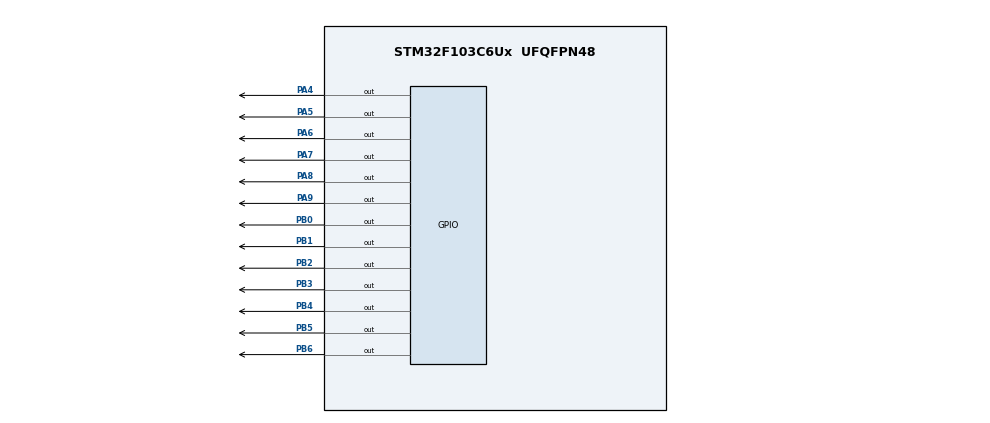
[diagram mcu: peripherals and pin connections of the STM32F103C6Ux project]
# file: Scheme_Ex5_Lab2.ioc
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Mcu.Family=STM32F1
Mcu.Name=STM32F103C6Ux
Mcu.Package=UFQFPN48
NVIC.PriorityGroup=NVIC_PRIORITYGROUP_4
NVIC.TIM2_IRQn=true\:0\:0\:false\:false\:true\:true\:true
PA13.Mode=Serial_Wire
PA13.Signal=SYS_JTMS-SWDIO
PA14.Mode=Serial_Wire
PA14.Signal=SYS_JTCK-SWCLK
PA4.Signal=GPIO_Output
PA5.Signal=GPIO_Output
PA6.Signal=GPIO_Output
PA7.Signal=GPIO_Output
PA8.Signal=GPIO_Output
PA9.Signal=GPIO_Output
PB0.Signal=GPIO_Output
PB1.Signal=GPIO_Output
PB2.Signal=GPIO_Output
PB3.Signal=GPIO_Output
PB4.Signal=GPIO_Output
PB5.Signal=GPIO_Output
PB6.Signal=GPIO_Output
ProjectManager.HeapSize=0x200
ProjectManager.StackSize=0x400
ProjectManager.TargetToolchain=STM32CubeIDE
RCC.APB1Freq_Value=8000000
RCC.APB2Freq_Value=8000000
TIM2.Period=9
TIM2.Prescaler=7999
VP_TIM2_VS_ClockSourceINT.Mode=Internal
board=custom

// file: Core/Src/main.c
/* USER CODE BEGIN Header */
/**
  ******************************************************************************
  * @file           : main.c
  * @brief          : Main program body - Lab 2 Exercise 3
  ******************************************************************************
  * @attention
  *
  * <h2><center>&copy; Copyright (c) 2026 STMicroelectronics.
  * All rights reserved.</center></h2>
  *
  * This software component is licensed by ST under BSD 3-Clause license,
  * the "License"; You may not use this file except in compliance with the
  * License. You may obtain a copy of the License at:
  *                        opensource.org/licenses/BSD-3-Clause
  *
  ******************************************************************************
  */
/* USER CODE END Header */
#include "main.h"

TIM_HandleTypeDef htim2;

/* USER CODE BEGIN PV */
const int MAX_LED = 4;
int led_buffer[4] = {0,0,0,0};
int hour = 15;
int minute = 8;
int second = 50;
int led_counter = 25;
int dot_counter = 100; // 100 * 10ms = 1000ms = 1s
int led_index = 0;
/* USER CODE END PV */

void SystemClock_Config(void);
static void MX_GPIO_Init(void);
static void MX_TIM2_Init(void);
/* USER CODE BEGIN PFP */
void display7SEG(int num);
void update7SEG(int index);
/* USER CODE END PFP */

/* USER CODE BEGIN 0 */
static const uint8_t seg_code[10] = {
    0b1000000, // 0: a,b,c,d,e,f
    0b1111001, // 1: b,c
    0b0100100, // 2: a,b,d,e,g
    0b0110000, // 3: a,b,c,d,g
    0b0011001, // 4: b,c,f,g
    0b0010010, // 5: a,c,d,f,g
    0b0000010, // 6: a,c,d,e,f,g
    0b1111000, // 7: a,b,c
    0b0000000, // 8: a,b,c,d,e,f,g
    0b0010000  // 9: a,b,c,d,f,g
};

void display7SEG(int num)
{
    if (num < 0 || num > 9) return;
    uint8_t code = seg_code[num];
    HAL_GPIO_WritePin(GPIOB, GPIO_PIN_0, (code & 0x01) ? GPIO_PIN_SET : GPIO_PIN_RESET);
    HAL_GPIO_WritePin(GPIOB, GPIO_PIN_1, (code & 0x02) ? GPIO_PIN_SET : GPIO_PIN_RESET);
    HAL_GPIO_WritePin(GPIOB, GPIO_PIN_2, (code & 0x04) ? GPIO_PIN_SET : GPIO_PIN_RESET);
    HAL_GPIO_WritePin(GPIOB, GPIO_PIN_3, (code & 0x08) ? GPIO_PIN_SET : GPIO_PIN_RESET);
    HAL_GPIO_WritePin(GPIOB, GPIO_PIN_4, (code & 0x10) ? GPIO_PIN_SET : GPIO_PIN_RESET);
    HAL_GPIO_WritePin(GPIOB, GPIO_PIN_5, (code & 0x20) ? GPIO_PIN_SET : GPIO_PIN_RESET);
    HAL_GPIO_WritePin(GPIOB, GPIO_PIN_6, (code & 0x40) ? GPIO_PIN_SET : GPIO_PIN_RESET);
}

void update7SEG(int index)
{
    if (index < 0 || index > 3) return;
    HAL_GPIO_WritePin(GPIOA, GPIO_PIN_6 | GPIO_PIN_7 | GPIO_PIN_8 | GPIO_PIN_9, GPIO_PIN_SET); // Tắt hết 4 LED chống bóng m�?

    switch(index)
    {
    case 0:
        display7SEG(led_buffer[0]);
        HAL_GPIO_WritePin(GPIOA, GPIO_PIN_6, GPIO_PIN_RESET);
        break;
    case 1:
        display7SEG(led_buffer[1]);
        HAL_GPIO_WritePin(GPIOA, GPIO_PIN_7, GPIO_PIN_RESET);
        break;
    case 2:
        display7SEG(led_buffer[2]);
        HAL_GPIO_WritePin(GPIOA, GPIO_PIN_8, GPIO_PIN_RESET);
        break;
    case 3:
        display7SEG(led_buffer[3]);
        HAL_GPIO_WritePin(GPIOA, GPIO_PIN_9, GPIO_PIN_RESET);
        break;
    default:
        break;
    }
}

 void updateClockBuffer(int hour, int minute) {
	 led_buffer[0] = hour / 10;
	 led_buffer[1] = hour % 10;
	 led_buffer[2] = minute / 10;
	 led_buffer[3] = minute % 10;
 }
/* USER CODE END 0 */

int main(void)
{

  /* MCU Configuration--------------------------------------------------------*/

  /* Reset of all peripherals, Initializes the Flash interface and the Systick. */
  HAL_Init();

  /* Configure the system clock */
  SystemClock_Config();

  /* Initialize all configured peripherals */
  MX_GPIO_Init();
  MX_TIM2_Init();
  /* USER CODE BEGIN 2 */
  HAL_TIM_Base_Start_IT(&htim2);
  updateClockBuffer(hour, minute);
  /* USER CODE END 2 */

  /* Infinite loop */
  while (1)
  {

  }
}

void SystemClock_Config(void)
{
  RCC_OscInitTypeDef RCC_OscInitStruct = {0};
  RCC_ClkInitTypeDef RCC_ClkInitStruct = {0};

  /** Initializes the RCC Oscillators according to the specified parameters
  * in the RCC_OscInitTypeDef structure.
  */
  RCC_OscInitStruct.OscillatorType = RCC_OSCILLATORTYPE_HSI;
  RCC_OscInitStruct.HSIState = RCC_HSI_ON;
  RCC_OscInitStruct.HSICalibrationValue = RCC_HSICALIBRATION_DEFAULT;
  RCC_OscInitStruct.PLL.PLLState = RCC_PLL_NONE;
  if (HAL_RCC_OscConfig(&RCC_OscInitStruct) != HAL_OK)
  {
    Error_Handler();
  }
  /** Initializes the CPU, AHB and APB buses clocks
  */
  RCC_ClkInitStruct.ClockType = RCC_CLOCKTYPE_HCLK|RCC_CLOCKTYPE_SYSCLK
                              |RCC_CLOCKTYPE_PCLK1|RCC_CLOCKTYPE_PCLK2;
  RCC_ClkInitStruct.SYSCLKSource = RCC_SYSCLKSOURCE_HSI;
  RCC_ClkInitStruct.AHBCLKDivider = RCC_SYSCLK_DIV1;
  RCC_ClkInitStruct.APB1CLKDivider = RCC_HCLK_DIV1;
  RCC_ClkInitStruct.APB2CLKDivider = RCC_HCLK_DIV1;

  if (HAL_RCC_ClockConfig(&RCC_ClkInitStruct, FLASH_LATENCY_0) != HAL_OK)
  {
    Error_Handler();
  }
}

static void MX_TIM2_Init(void)
{

  TIM_ClockConfigTypeDef sClockSourceConfig = {0};
  TIM_MasterConfigTypeDef sMasterConfig = {0};

  htim2.Instance = TIM2;
  htim2.Init.Prescaler = 7999;
  htim2.Init.CounterMode = TIM_COUNTERMODE_UP;
  htim2.Init.Period = 9;
  htim2.Init.ClockDivision = TIM_CLOCKDIVISION_DIV1;
  htim2.Init.AutoReloadPreload = TIM_AUTORELOAD_PRELOAD_DISABLE;
  if (HAL_TIM_Base_Init(&htim2) != HAL_OK)
  {
    Error_Handler();
  }
  sClockSourceConfig.ClockSource = TIM_CLOCKSOURCE_INTERNAL;
  if (HAL_TIM_ConfigClockSource(&htim2, &sClockSourceConfig) != HAL_OK)
  {
    Error_Handler();
  }
  sMasterConfig.MasterOutputTrigger = TIM_TRGO_RESET;
  sMasterConfig.MasterSlaveMode = TIM_MASTERSLAVEMODE_DISABLE;
  if (HAL_TIMEx_MasterConfigSynchronization(&htim2, &sMasterConfig) != HAL_OK)
  {
    Error_Handler();
  }

}

static void MX_GPIO_Init(void)
{
  GPIO_InitTypeDef GPIO_InitStruct = {0};

  /* GPIO Ports Clock Enable */
  __HAL_RCC_GPIOA_CLK_ENABLE();
  __HAL_RCC_GPIOB_CLK_ENABLE();

  /*Configure GPIO pin Output Level */
  HAL_GPIO_WritePin(GPIOA, GPIO_PIN_4|GPIO_PIN_5|GPIO_PIN_6|GPIO_PIN_7
                          |GPIO_PIN_8|GPIO_PIN_9, GPIO_PIN_RESET);

  /*Configure GPIO pin Output Level */
  HAL_GPIO_WritePin(GPIOB, GPIO_PIN_0|GPIO_PIN_1|GPIO_PIN_2|GPIO_PIN_3
                          |GPIO_PIN_4|GPIO_PIN_5|GPIO_PIN_6, GPIO_PIN_RESET);

  /*Configure GPIO pins : PA4 PA5 PA6 PA7
                           PA8 PA9 */
  GPIO_InitStruct.Pin = GPIO_PIN_4|GPIO_PIN_5|GPIO_PIN_6|GPIO_PIN_7
                          |GPIO_PIN_8|GPIO_PIN_9;
  GPIO_InitStruct.Mode = GPIO_MODE_OUTPUT_PP;
  GPIO_InitStruct.Pull = GPIO_NOPULL;
  GPIO_InitStruct.Speed = GPIO_SPEED_FREQ_LOW;
  HAL_GPIO_Init(GPIOA, &GPIO_InitStruct);

  /*Configure GPIO pins : PB0 PB1 PB2 PB3
                           PB4 PB5 PB6 */
  GPIO_InitStruct.Pin = GPIO_PIN_0|GPIO_PIN_1|GPIO_PIN_2|GPIO_PIN_3
                          |GPIO_PIN_4|GPIO_PIN_5|GPIO_PIN_6;
  GPIO_InitStruct.Mode = GPIO_MODE_OUTPUT_PP;
  GPIO_InitStruct.Pull = GPIO_NOPULL;
  GPIO_InitStruct.Speed = GPIO_SPEED_FREQ_LOW;
  HAL_GPIO_Init(GPIOB, &GPIO_InitStruct);

}

/* USER CODE BEGIN 4 */
void HAL_TIM_PeriodElapsedCallback(TIM_HandleTypeDef *htim)
{
    if (htim->Instance == TIM2)
    {
        // 1. Chớp tắt đèn DOT mỗi 1 giây (100 * 10ms = 1000ms)
        dot_counter--;
        if (dot_counter <= 0)
        {
            dot_counter = 100;
            HAL_GPIO_WritePin(GPIOA, GPIO_PIN_4, GPIO_PIN_RESET);
            second++;
            if (second >= 60) {
            	minute++;
            	second = 0;
            	if (minute >= 60) {
            		hour++;
            		minute = 0;
            		if (hour >= 24) {
            			hour = 0;
            		}
            	}
            	updateClockBuffer(hour, minute); //thay doi led moi khi thay doi phut
            }

        }

        led_counter--;
        if (led_counter <= 0)
        {
            led_counter = 25;

            update7SEG(led_index);

            led_index++;
            if (led_index >= MAX_LED)
            {
                led_index = 0;
            }

            HAL_GPIO_TogglePin(GPIOA, GPIO_PIN_5);
        }
    }
}
/* USER CODE END 4 */

void Error_Handler(void)
{
  __disable_irq();
  while (1)
  {
  }
}

/************************ (C) COPYRIGHT STMicroelectronics *****END OF FILE****/
